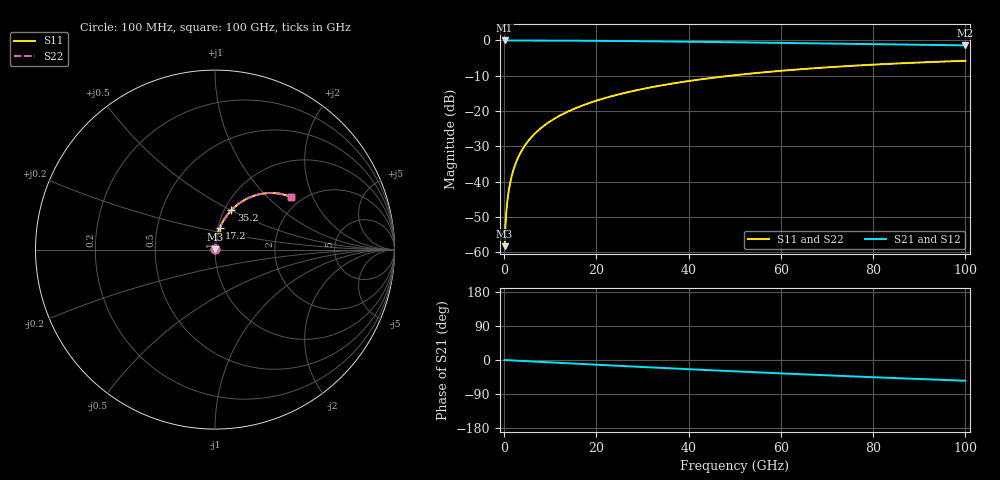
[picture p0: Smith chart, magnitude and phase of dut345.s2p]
! Touchstone file exported from HFSS 2026.1.0
!  File:  C:/ffzhzh/LocalFiles/Ansys_Project_Files/temp_train_RDL_345_1783503116_9504.aedt
!  Generated:  05:33:10 PM Jul  8, 2026
!  Design:  RDL
!  Project:  temp_train_RDL_345_1783503116_9504
! Variables:
!  h_bsmrdl = 2um
!  h_ox = 20um
!  h_rdl = 5um
!  h_sub = 80um
!  h_tmrdl = 2.68um
!  h_tsv = 80um
!  h_via = 3um
!  l_bsmrdl = 300um
!  l_sub = 521.76um
!  l_tmrdl = 121.76um
!  m_sub = 200um
!  pitch = 58.56um
!  r_tsv = 6um
!  s_tmrdl = 10um
!  w_bsmrdl = 18um
!  w_sub = 500um
!  w_tmrdl = 26.08um
!  x_tsv_center1 = 134.8um
!  x_tsv_center2 = 452.8um
!  x_tsv_center3 = 600.64um
!  x_tsv_center4 = 918.64um
!  x_tsv_center5 = 1066.48um
!  x_tsv_center6 = 1384.48um
# GHz S MA R 50.000000
! Terminal data exported
! Port[1] = TM_RDL1_1_T1
! Port[2] = TM_RDL1_1_T2
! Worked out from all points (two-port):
!   1000 points, 100 MHz to 100 GHz, reference 50 ohm
!   highest |S21| = -0.01 dB at 100 MHz (marker M1); lowest = -1.4 dB at 100 GHz (marker M2)
!   |S21| within 3 dB of the highest: start of sweep to end of sweep
!   lowest |S11| = -58.2 dB at 100 MHz (marker M3), VSWR 1.00, Z = 50.1 + j0.0785 ohm
!   |S11| at or under -10 dB: start of sweep to 48.94 GHz
!   |S22| runs from -58.2 to -5.8 dB; largest |S21 - S12| = 7.1e-15
!   S11 on the Smith chart (normalised r, x): 100 MHz: 1.00, +0.00; 17.2 GHz: 1.02, +0.25; 35.2 GHz: 1.08, +0.50; 100 GHz: 1.76, +1.40
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0.1  0.001228 39.7  0.9991 -0.1  0.9991 -0.1  0.001228 39.7
! Gamma 0 0 0 0
! Port Impedance 50 0 50 0
0.4  0.003226 70.7  0.9989 -0.3  0.9989 -0.3  0.003226 70.7
0.8  0.006054 78.5  0.9988 -0.5  0.9988 -0.5  0.006054 78.5
1.1  0.00819 81.0  0.9988 -0.7  0.9988 -0.7  0.00819 81.0
1.4  0.01034 82.4  0.9987 -0.9  0.9987 -0.9  0.01034 82.4
1.9  0.01393 83.6  0.9987 -1.2  0.9987 -1.2  0.01393 83.6
2.5  0.01826 84.4  0.9985 -1.6  0.9985 -1.6  0.01826 84.4
3.2  0.0233 84.7  0.9984 -2.0  0.9984 -2.0  0.0233 84.7
4  0.02907 84.7  0.9982 -2.5  0.9982 -2.5  0.02907 84.7
5  0.03625 84.4  0.9978 -3.2  0.9978 -3.2  0.03625 84.4
6.1  0.04413 84.0  0.9974 -3.9  0.9974 -3.9  0.04413 84.0
8.9  0.06404 82.6  0.996 -5.6  0.996 -5.6  0.06404 82.6
12.4  0.08859 80.6  0.9937 -7.8  0.9937 -7.8  0.08859 80.7
16.8  0.1189 78.1  0.99 -10.5  0.99 -10.5  0.1189 78.1
17.2  0.1216 77.9  0.9896 -10.7  0.9896 -10.7  0.1216 77.9
24.4  0.1696 73.7  0.9819 -15.1  0.9819 -15.1  0.1696 73.7
33.4  0.2268 68.5  0.9698 -20.5  0.9698 -20.5  0.2268 68.5
35.2  0.2378 67.5  0.9671 -21.5  0.9671 -21.5  0.2378 67.5
50.1  0.3224 59.2  0.9418 -30.0  0.9418 -30.0  0.3224 59.2
66.7  0.402 50.4  0.9104 -38.8  0.9104 -38.8  0.4019 50.5
83.4  0.4662 42.3  0.8792 -47.1  0.8792 -47.1  0.4662 42.3
100  0.515 34.6  0.8515 -54.8  0.8515 -54.8  0.515 34.8
